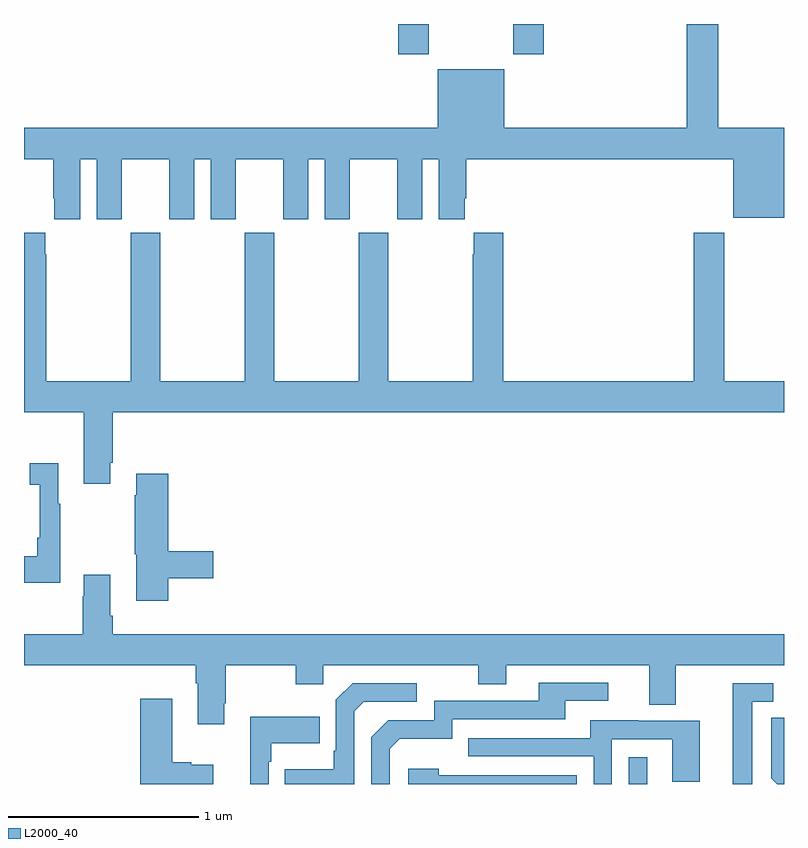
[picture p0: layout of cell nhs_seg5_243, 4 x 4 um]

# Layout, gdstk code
import gdstk
lib = gdstk.Library(unit=1e-6, precision=1e-09)
def R(c, l, rs):  # rectangles x0, y0, x1, y1
    for r in rs: c.add(gdstk.rectangle(r[:2], r[2:], *l))
def P(c, l, *ps):  # polygons
    for p in ps: c.add(gdstk.Polygon(p, *l))
L2000_40 = (2000, 40)

nhs_seg5_243 = lib.new_cell('nhs_seg5_243')
R(nhs_seg5_243, L2000_40, [(128.184,858.799,128.281,858.94), (126.971,862.641,127.131,862.799), (127.576,862.641,127.736,862.799)])
P(nhs_seg5_243, L2000_40, [(125.296,862.088),(125.384,862.088),(125.384,861.771),(125.515,861.771),(125.515,862.088),(125.765,862.088),(125.765,861.771),(125.896,861.771),(125.896,862.088),(125.984,862.088),(125.984,861.771),(126.115,861.771),(126.115,862.088),(126.365,862.088),(126.365,861.771),(126.496,861.771),(126.496,862.088),(126.584,862.088),(126.584,861.771),(126.715,861.771),(126.715,862.088),(126.965,862.088),(126.965,861.771),(127.096,861.771),(127.096,862.088),(127.184,862.088),(127.184,861.771),(127.321,861.771),(127.321,861.883),(127.328,861.883),(127.328,862.088),(128.732,862.088),(128.732,861.779),(129,861.779),(129,862.252),(128.653,862.252),(128.653,862.799),(128.489,862.799),(128.489,862.252),(127.528,862.252),(127.528,862.561),(127.178,862.561),(127.178,862.252),(125,862.252),(125,862.088),(125.153,862.088),(125.153,861.883),(125.159,861.883),(125.159,861.771),(125.296,861.771)],
  [(129,860.92),(128.685,860.92),(128.685,861.7),(128.525,861.7),(128.525,860.92),(127.523,860.92),(127.523,861.7),(127.367,861.7),(127.367,861.587),(127.363,861.587),(127.363,860.92),(126.918,860.92),(126.918,861.7),(126.763,861.7),(126.763,860.92),(126.318,860.92),(126.318,861.7),(126.163,861.7),(126.163,860.92),(125.718,860.92),(125.718,861.7),(125.563,861.7),(125.563,860.92),(125.118,860.92),(125.118,861.587),(125.113,861.587),(125.113,861.7),(125,861.7),(125,860.756),(125.315,860.756),(125.315,860.379),(125.455,860.379),(125.455,860.491),(125.468,860.491),(125.468,860.756),(129,860.756)],
  [(125.191,860.275),(125.179,860.275),(125.179,860.488),(125.031,860.488),(125.031,860.375),(125.082,860.375),(125.082,860.095),(125.07,860.095),(125.07,859.999),(125,859.999),(125,859.859),(125.191,859.859)],
  [(125.759,859.882),(125.995,859.882),(125.995,860.024),(125.759,860.024),(125.759,860.431),(125.591,860.431),(125.591,860.318),(125.584,860.318),(125.584,860.007),(125.591,860.007),(125.591,859.764),(125.759,859.764)],
  [(125.468,859.684),(125.455,859.684),(125.455,859.9),(125.315,859.9),(125.315,859.787),(125.308,859.787),(125.308,859.588),(125,859.588),(125,859.424),(125.903,859.424),(125.903,859.328),(125.915,859.328),(125.915,859.113),(126.055,859.113),(126.055,859.225),(126.063,859.225),(126.063,859.424),(126.43,859.424),(126.43,859.325),(126.576,859.325),(126.576,859.424),(127.39,859.424),(127.39,859.325),(127.537,859.325),(127.537,859.424),(128.291,859.424),(128.291,859.216),(128.431,859.216),(128.431,859.424),(129,859.424),(129,859.588),(125.468,859.588)],
  [(126.924,858.984),(126.977,859.037),(127.254,859.037),(127.254,859.14),(127.849,859.14),(127.849,859.236),(128.074,859.236),(128.074,859.332),(127.709,859.332),(127.709,859.236),(127.158,859.236),(127.158,859.134),(126.918,859.134),(126.828,859.044),(126.828,858.799),(126.924,858.799)],
  [(126.738,859.182),(126.789,859.233),(127.066,859.233),(127.066,859.329),(126.729,859.329),(126.642,859.242),(126.642,858.973),(126.63,858.973),(126.63,858.877),(126.373,858.877),(126.373,858.799),(126.738,858.799)],
  [(128.833,859.233),(128.944,859.233),(128.944,859.329),(128.729,859.329),(128.729,858.799),(128.833,858.799)],
  [(125.995,858.901),(125.879,858.901),(125.879,858.914),(125.779,858.914),(125.779,859.249),(125.612,859.249),(125.612,858.799),(125.995,858.799)],
  [(126.288,858.917),(126.301,858.917),(126.301,859.013),(126.557,859.013),(126.557,859.153),(126.191,859.153),(126.191,858.799),(126.288,858.799)],
  [(129,859.148),(128.934,859.148),(128.934,858.83),(128.965,858.799),(129,858.799)],
  [(128.094,859.035),(128.412,859.035),(128.412,858.811),(128.557,858.811),(128.557,859.131),(128.233,859.131),(128.233,859.135),(127.979,859.135),(127.979,859.041),(127.339,859.041),(127.339,858.945),(127.998,858.945),(127.998,858.799),(128.094,858.799)],
  [(127.908,858.846),(127.184,858.846),(127.184,858.88),(127.023,858.88),(127.023,858.799),(127.908,858.799)])

lib.write_gds('nhs_seg5_243.gds')
